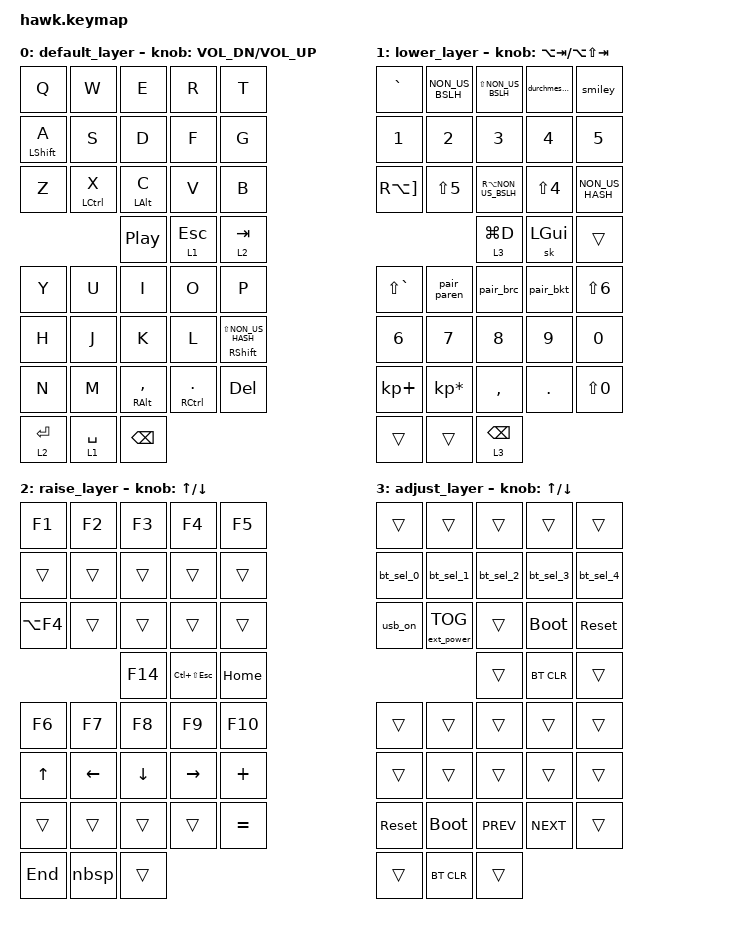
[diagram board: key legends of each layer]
/*
 * Hawk keymap — Corne keymap with outer pinky columns removed.
 *
 * Key position reference (36 positions total):
 *
 *   Left 5×3 (pos 0–14):
 *     0  1  2  3  4   ← top row  (Q  W  E  R  T)
 *     5  6  7  8  9   ← mid row  (A  S  D  F  G)
 *    10 11 12 13 14   ← bot row  (Z  X  C  V  B)
 *
 *   Left thumbs (pos 15–17):
 *    15 16 17
 *
 *   Right 5×3 (pos 18–32, peripheral offset +18):
 *    18 19 20 21 22   ← top row  (Y  U  I  O  P)
 *    23 24 25 26 27   ← mid row  (H  J  K  L  ö)
 *    28 29 30 31 32   ← bot row  (N  M  ,  .  DEL)
 *
 *   Right thumbs (pos 33–35):
 *    33 34 35
 *
 * Special functions via chord combos (special switches wired in parallel
 * to the common key AND the partner key):
 *   BT / USB  — common key T (pos 4):
 *     X+G(9)  = BT0 (ws)
 *     X+S(6)  = BT1 (ge)
 *     X+A(5)  = BT2 (bl)
 *     X+D(7)  = USB (rt)
 *     X (gn)
 *     GND (sw)
 *   5-way nav — common key Q (pos 0):
 *     Q+Z(10) = Nav Up
 *     Q+X(11) = Nav Down
 *     Q+C(12) = Nav Left
 *     Q+V(13) = Nav Right
 *     Q+B(14) = Nav OK
 */


#define LEFT_HAND_KEYS  0  1  2  3  4  5  6  7  8  9 10 11 12 13 14 15 16 17
#define RIGHT_HAND_KEYS 18 19 20 21 22 23 24 25 26 27 28 29 30 31 32 33 34 35

#include <behaviors.dtsi>
#include <dt-bindings/zmk/keys.h>
#include <dt-bindings/zmk/bt.h>
#include <dt-bindings/zmk/ext_power.h>
#include <dt-bindings/zmk/outputs.h>

/ {
    macros {
        pair_paren: pair_paren {
            compatible = "zmk,behavior-macro";
            #binding-cells = <0>;
            wait-ms = <10>;
            tap-ms = <10>;
            bindings = <&kp LS(N8)>, <&kp LS(N9)>, <&kp LEFT>;
        };

        pair_brc: pair_brc {
            compatible = "zmk,behavior-macro";
            #binding-cells = <0>;
            wait-ms = <10>;
            tap-ms = <10>;
            bindings = <&kp RA(N7)>, <&kp RA(N0)>, <&kp LEFT>;
        };

        pair_bkt: pair_bkt {
            compatible = "zmk,behavior-macro";
            #binding-cells = <0>;
            wait-ms = <10>;
            tap-ms = <10>;
            bindings = <&kp RA(N8)>, <&kp RA(N9)>, <&kp LEFT>;
        };

        usb_on: usb_on {
            compatible = "zmk,behavior-macro";
            #binding-cells = <0>;
            bindings = <&out OUT_USB>;
        };

        bt_sel_0: bt_sel_0 {
            compatible = "zmk,behavior-macro";
            #binding-cells = <0>;
            bindings = <&out OUT_BLE>, <&bt BT_SEL 0>;
        };

        bt_sel_1: bt_sel_1 {
            compatible = "zmk,behavior-macro";
            #binding-cells = <0>;
            bindings = <&out OUT_BLE>, <&bt BT_SEL 1>;
        };

        bt_sel_2: bt_sel_2 {
            compatible = "zmk,behavior-macro";
            #binding-cells = <0>;
            bindings = <&out OUT_BLE>, <&bt BT_SEL 2>;
        };
        
        bt_sel_3: bt_sel_3 {
            compatible = "zmk,behavior-macro";
            #binding-cells = <0>;
            bindings = <&out OUT_BLE>, <&bt BT_SEL 3>;
        };

        bt_sel_4: bt_sel_4 {
            compatible = "zmk,behavior-macro";
            #binding-cells = <0>;
            bindings = <&out OUT_BLE>, <&bt BT_SEL 4>;
        };

        durchmesser: durchmesser {
            compatible = "zmk,behavior-macro";
            #binding-cells = <0>;
            bindings = <&macro_press &kp LALT>, <&macro_tap &kp KP_N0 &kp KP_N2 &kp KP_N4 &kp KP_N8>, <&macro_release &kp LALT>;
        };

        smiley: smiley {
            compatible = "zmk,behavior-macro";
            #binding-cells = <0>;
            wait-ms = <20>;
            tap-ms = <20>;
            bindings = <&macro_press &kp LSHFT>, <&macro_tap &kp COMMA>, <&macro_release &kp LSHFT>, <&macro_tap &kp SLASH>, <&macro_press &kp LSHFT>, <&macro_tap &kp N9>, <&macro_release &kp LSHFT>;
        };

        nbsp: nbsp {
            compatible = "zmk,behavior-macro";
            #binding-cells = <0>;
            wait-ms = <30>;
            tap-ms = <30>;
            bindings = <&macro_press &kp LALT>, <&macro_tap &kp KP_N0 &kp KP_N1 &kp KP_N6 &kp KP_N0>, <&macro_release &kp LALT>;
        };

        macro_bt_clr: macro_bt_clr {
            compatible = "zmk,behavior-macro";
            #binding-cells = <0>;
            bindings = <&bt BT_CLR>;
        };
        
        // Makro sendet den Befehl und "wartet" dann einfach, bis du loslässt
        m_pp: m_pp {
            compatible = "zmk,behavior-macro";
            #binding-cells = <0>;
            wait-ms = <0>;
            tap-ms = <10>;
            bindings = <&kp C_PP>; 
        };
        m_next: m_next {
            compatible = "zmk,behavior-macro";
            #binding-cells = <0>;
            bindings = <&kp C_NEXT>;
        };
        m_prev: m_prev {
            compatible = "zmk,behavior-macro";
            #binding-cells = <0>;
            bindings = <&kp C_PREV>;
        };
        // Makro für UP mit Wiederholung
        m_up: m_up {
            compatible = "zmk,behavior-macro";
            #binding-cells = <0>;
            wait-ms = <0>;
            tap-ms = <0>;
            bindings
                = <&macro_press &kp UP>
                , <&macro_pause_for_release>
                , <&macro_release &kp UP>;
        };

        // Makro für DOWN mit Wiederholung
        m_down: m_down {
            compatible = "zmk,behavior-macro";
            #binding-cells = <0>;
            wait-ms = <0>;
            tap-ms = <0>;
            bindings
                = <&macro_press &kp DOWN>
                , <&macro_pause_for_release>
                , <&macro_release &kp DOWN>;
        };
    };

    behaviors {
        lt_enter: lt_enter {
            compatible = "zmk,behavior-hold-tap";
            #binding-cells = <2>;
            tapping-term-ms = <220>; // Leicht erhöht, um versehentliche Taps abzufangen
            quick-tap-ms = <150>;    // Erlaubt schnelles Doppel-Enter, falls man es mal braucht
            flavor = "hold-preferred"; // Im Zweifel IMMER Layer, kein Enter!
            retro-tap;               // Feuert Enter NUR, wenn absolut keine andere Taste gedrückt wurde
            bindings = <&mo>, <&kp>;
        };

        caps_wrd: caps_wrd {
            compatible = "zmk,behavior-caps-word";
            #binding-cells = <0>;
            continue-list = <NON_US_HASH KP_DIVIDE BACKSPACE DEL SLASH SQT SEMI LBKT>;
        };

        hrm_safe: hrm_safe {
            compatible = "zmk,behavior-hold-tap";
            #binding-cells = <2>;
            tapping-term-ms = <280>;
            quick-tap-ms = <175>;
            flavor = "tap-preferred";
            require-prior-idle-ms = <220>;
            bindings = <&kp>, <&kp>;
            hold-trigger-on-release;
        };

        hrm_left: hrm_left {
            compatible = "zmk,behavior-hold-tap";
            #binding-cells = <2>;
            flavor = "tap-preferred";
            tapping-term-ms = <220>;             // Leicht erhöht
            require-prior-idle-ms = <150>;       // <-- DIESER SCHUTZ FILTERT "das" FEHLER RAUS
            hold-trigger-key-positions = <RIGHT_HAND_KEYS>;
            hold-trigger-on-release;
            bindings = <&kp>, <&kp>;
        };
    
        hrm_right: hrm_right {
            compatible = "zmk,behavior-hold-tap";
            #binding-cells = <2>;
            flavor = "tap-preferred";
            tapping-term-ms = <170>;
            require-prior-idle-ms = <80>;
            hold-trigger-key-positions = <LEFT_HAND_KEYS>;
            hold-trigger-on-release;
            bindings = <&kp>, <&kp>;
        };

        lt_hp: lt_hp {
            compatible = "zmk,behavior-hold-tap";
            #binding-cells = <2>;
            tapping-term-ms = <200>;
            quick-tap-ms = <200>;
            flavor = "balanced";
            retro-tap;
            bindings = <&mo>, <&kp>;
        };

        enc_bt_clr: enc_bt_clr {
            compatible = "zmk,behavior-hold-tap";
            #binding-cells = <2>;
            tapping-term-ms = <5000>;
            flavor = "tap-preferred";
            bindings = <&macro_bt_clr>, <&none>;
        };

    };

    combos {
        compatible = "zmk,combos";

        // ==========================================
        // 1. SYSTEMATISCHER TEST: Knackige HRM-Combos (35ms)
        // Diese liegen auf Tasten mit Modifikatoren (F, J, X, C)
        // ==========================================
        // combo_creo_mod   { timeout-ms = <35>; key-positions = <11 12>; bindings = <&kp LC(LALT)>; layers = <0 1>; }; // X + C
        combo_caps_word  { timeout-ms = <35>; key-positions = <8 24>;  bindings = <&caps_wrd>; layers = <0>; };    // F + J
        combo_quote      { timeout-ms = <35>; key-positions = <7 8>;   bindings = <&kp LS(N2)>; layers = <0 1>; }; // D + F
        combo_question   { timeout-ms = <35>; key-positions = <24 25>; bindings = <&kp LS(MINUS)>; layers = <0 1>; }; // J + K
        combo_ue         { timeout-ms = <35>; key-positions = <19 24>; bindings = <&kp LBKT>; layers = <0>; };     // U + J


        // ==========================================
        // 2. UNKRITISCHE COMBOS (Komfortable 45-50ms)
        // Hier liegen keine Modifikatoren, das Timing darf entspannt sein
        // ==========================================
        combo_excl       { timeout-ms = <45>; key-positions = <2 7>;   bindings = <&kp LS(N1)>; layers = <0 1>; };
        combo_colon      { timeout-ms = <45>; key-positions = <30 31>; bindings = <&kp LS(DOT)>; layers = <0 1>; }; // , + . (Zwar HRM, aber unkritisch für f/j)
        combo_backslash  { timeout-ms = <45>; key-positions = <25 26>; bindings = <&kp RA(MINUS)>; layers = <0 1>; };
        combo_slash      { timeout-ms = <45>; key-positions = <6 7>;   bindings = <&kp KP_DIVIDE>; layers = <0 1>; };
        combo_minus      { timeout-ms = <45>; key-positions = <26 27>; bindings = <&kp SLASH>; layers = <0 1>; };
        combo_underscore { timeout-ms = <35>; key-positions = <5 6>;   bindings = <&kp LS(SLASH)>; layers = <0 1>; };
        combo_ae         { timeout-ms = <50>; key-positions = <0 5>;   bindings = <&kp SQT>; layers = <0>; };      // Q + A (Pinky)
        combo_oe         { timeout-ms = <45>; key-positions = <21 26>; bindings = <&kp SEMI>; layers = <0>; };     // O + L
        combo_ss         { timeout-ms = <45>; key-positions = <1 6>;   bindings = <&kp MINUS>; layers = <0>; };


        // ==========================================
        // 3. HARDWARE-COMBOS (Bleiben auf 2ms)
        // ==========================================
        combo_bt0 { timeout-ms = <2>; key-positions = <11 9>; bindings = <&bt_sel_0>; };
        combo_bt1 { timeout-ms = <2>; key-positions = <11 6>; bindings = <&bt_sel_1>; };
        combo_bt2 { timeout-ms = <2>; key-positions = <11 5>; bindings = <&bt_sel_2>; };
        combo_usb { timeout-ms = <2>; key-positions = <11 7>; bindings = <&usb_on>; };
        
        combo_up    { timeout-ms = <2>; key-positions = <0 11 14>; bindings = <&kp UP>;    layers = <0>; };
        combo_down  { timeout-ms = <2>; key-positions = <0 10 14>; bindings = <&kp DOWN>;  layers = <0>; };
        combo_prev  { timeout-ms = <2>; key-positions = <0 12 14>; bindings = <&m_prev>;   layers = <0>; };
        combo_next  { timeout-ms = <2>; key-positions = <0 13 14>; bindings = <&m_next>;   layers = <0>; };
        combo_pp    { timeout-ms = <2>; key-positions = <0 14>;    bindings = <&m_pp>;     layers = <0>; };

        combo_up_l1   { timeout-ms = <2>; key-positions = <0 11 14>; bindings = <&kp UP>;    layers = <1>; };
        combo_down_l1 { timeout-ms = <2>; key-positions = <0 10 14>; bindings = <&kp DOWN>;  layers = <1>; };
        combo_prev_l1 { timeout-ms = <2>; key-positions = <0 12 14>; bindings = <&kp LEFT>;  layers = <1>; };
        combo_next_l1 { timeout-ms = <2>; key-positions = <0 13 14>; bindings = <&kp RIGHT>; layers = <1>; };
        combo_pp_l1   { timeout-ms = <2>; key-positions = <0 14>;    bindings = <&m_pp>;     layers = <1>; };

        combo_del_last_word {
            timeout-ms = <45>;
            key-positions = <15 35>;
            bindings = <&kp LC(BSPC)>;
            layers = <0>; /* Aktiv auf allen relevanten Ebenen */
        };
    };

    keymap {
        compatible = "zmk,keymap";

        /*
         * Each layer has exactly 36 bindings in this position order:
         *   Pos  0– 4 : left top    (alpha)     Pos 18–22 : right top    (alpha)
         *   Pos  5– 9 : left mid    (alpha)     Pos 23–27 : right mid    (alpha)
         *   Pos 10–14 : left bot    (alpha)     Pos 28–32 : right bot    (alpha)
         *   Pos 15–17 : left thumbs             Pos 33–35 : right thumbs
         */
        default_layer {
            sensor-bindings = <&inc_dec_kp C_VOL_DN C_VOL_UP>;
            bindings = <
/* left top  */   &kp Q              &kp W                &kp E                 &kp R       &kp T
/* left mid  */   &hrm_left LSHIFT A &kp S                &kp D                 &kp F       &kp G
/* left bot  */   &kp Z              &hrm_safe LCTRL X    &hrm_safe LALT C      &kp V       &kp B
/* left tmb  */                                           &kp C_PP              &lt 1 ESC   &lt 2 TAB

/* right top */   &kp Y             &kp U              &kp I                 &kp O                &kp P
/* right mid */   &kp H             &kp J              &kp K                 &kp L                &hrm_right RSHIFT LS(NON_US_HASH)
/* right bot */   &kp N             &kp M              &hrm_safe RALT COMMA  &hrm_safe RCTRL DOT  &kp DEL
/* right tmb */   &lt_enter 2 RET   &lt_hp 1 SPACE     &kp BSPC
            >;
        };

        lower_layer {
            sensor-bindings = <&inc_dec_kp LA(TAB) LA(LS(TAB))>;
            bindings = <
/* left top  */   &kp GRAVE      &kp NON_US_BSLH   &kp LS(NON_US_BSLH)  &durchmesser   &smiley
/* left mid  */   &kp N1         &kp N2            &kp N3               &kp N4         &kp N5
/* left bot  */   &kp RA(RBKT)   &kp LS(N5)        &kp RA(NON_US_BSLH)  &kp LS(N4)     &kp NON_US_HASH
/* left tmb  */                                    &lt 3 LG(D)          &sk LGUI       &trans

/* right top */   &kp LS(GRAVE)  &pair_paren       &pair_brc            &pair_bkt       &kp LS(N6)
/* right mid */   &kp N6         &kp N7            &kp N8               &kp N9          &kp N0
/* right bot */   &kp KP_PLUS    &kp KP_MULTIPLY   &kp COMMA            &kp DOT         &kp LS(N0)
/* right tmb */   &trans         &trans            &lt_hp 3 BSPC
            >;
        };

        raise_layer {
            sensor-bindings = <&inc_dec_kp UP DOWN>;
            bindings = <
/* left top  */   &kp F1         &kp F2            &kp F3               &kp F4            &kp F5     
/* left mid  */   &trans         &trans            &trans               &trans            &trans
/* left bot  */   &kp LA(F4)     &trans            &trans               &trans            &trans
/* left tmb  */                                    &kp F14              &kp LC(LS(ESC))   &kp HOME

/* right top */   &kp F6         &kp F7            &kp F8               &kp F9          &kp F10
/* right mid */   &kp UP         &kp LEFT          &kp DOWN             &kp RIGHT       &kp PLUS
/* right bot */   &trans         &trans            &trans               &trans          &kp EQUAL
/* right tmb */   &kp END        &nbsp             &trans
            >;
        };

        adjust_layer {
            sensor-bindings = <&inc_dec_kp UP DOWN>;
            bindings = <
/* left top  */   &trans         &trans            &trans               &trans            &trans
/* left mid  */   &bt_sel_0      &bt_sel_1         &bt_sel_2            &bt_sel_3         &bt_sel_4
/* left bot  */   &usb_on        &ext_power EP_TOG &trans               &bootloader       &sys_reset
/* left tmb  */                                    &trans               &bt BT_CLR        &trans

/* right top */   &trans         &trans            &trans               &trans            &trans
/* right mid */   &trans         &trans            &trans               &trans            &trans
/* right bot */   &sys_reset     &bootloader       &kp C_PREV           &kp C_NEXT        &trans
/* right tmb */   &trans         &bt BT_CLR        &trans            
            >;
        };
    };
};
